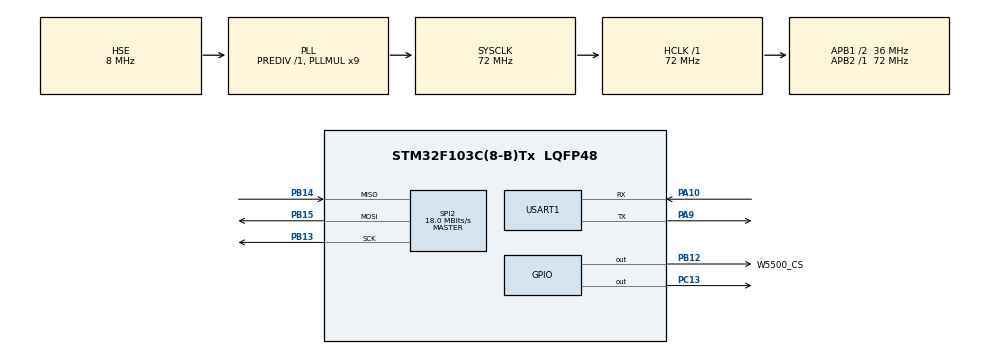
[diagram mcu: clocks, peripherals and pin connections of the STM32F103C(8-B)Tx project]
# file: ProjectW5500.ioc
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Dma.Request0=SPI2_RX
Dma.Request1=SPI2_TX
Dma.SPI2_RX.0.Direction=DMA_PERIPH_TO_MEMORY
Dma.SPI2_RX.0.Instance=DMA1_Channel4
Dma.SPI2_RX.0.MemDataAlignment=DMA_MDATAALIGN_BYTE
Dma.SPI2_RX.0.MemInc=DMA_MINC_ENABLE
Dma.SPI2_RX.0.Mode=DMA_NORMAL
Dma.SPI2_RX.0.PeriphDataAlignment=DMA_PDATAALIGN_BYTE
Dma.SPI2_RX.0.PeriphInc=DMA_PINC_DISABLE
Dma.SPI2_RX.0.Priority=DMA_PRIORITY_LOW
Dma.SPI2_TX.1.Direction=DMA_MEMORY_TO_PERIPH
Dma.SPI2_TX.1.Instance=DMA1_Channel5
Dma.SPI2_TX.1.MemDataAlignment=DMA_MDATAALIGN_BYTE
Dma.SPI2_TX.1.MemInc=DMA_MINC_ENABLE
Dma.SPI2_TX.1.Mode=DMA_NORMAL
Dma.SPI2_TX.1.PeriphDataAlignment=DMA_PDATAALIGN_BYTE
Dma.SPI2_TX.1.PeriphInc=DMA_PINC_DISABLE
Dma.SPI2_TX.1.Priority=DMA_PRIORITY_LOW
FREERTOS.Queues01=MQTTMessQueue,20,uint16_t,0,Static,MQTTMessQueueBuffer,MQTTMessQueueControlBlock
FREERTOS.Tasks01=MainTask,24,128,StartMainTask,Default,NULL,Static,MainTaskBuffer,MainTaskControlBlock;MQTTTask,25,512,StartMQTTTask,Default,NULL,Static,MQTTTaskBuffer,MQTTTaskControlBlock
FREERTOS.Timers01=Timer1sec,Timer1secCallback,osTimerPeriodic,Default,NULL,Static,Timer1secControlBlock
Mcu.Family=STM32F1
Mcu.Name=STM32F103C(8-B)Tx
Mcu.Package=LQFP48
NVIC.DMA1_Channel4_IRQn=true\:5\:0\:false\:false\:true\:true\:false\:true\:true
NVIC.DMA1_Channel5_IRQn=true\:5\:0\:false\:false\:true\:true\:false\:true\:true
NVIC.PriorityGroup=NVIC_PRIORITYGROUP_4
NVIC.TIM1_UP_IRQn=true\:5\:0\:false\:false\:true\:true\:true\:true\:true
NVIC.TIM4_IRQn=true\:15\:0\:false\:false\:true\:false\:false\:true\:true
NVIC.TimeBase=TIM4_IRQn
NVIC.TimeBaseIP=TIM4
PA10.Mode=Asynchronous
PA10.Signal=USART1_RX
PA13.Mode=Serial_Wire
PA13.Signal=SYS_JTMS-SWDIO
PA14.Mode=Serial_Wire
PA14.Signal=SYS_JTCK-SWCLK
PA9.Mode=Asynchronous
PA9.Signal=USART1_TX
PB12.GPIO_Label=W5500_CS
PB12.Signal=GPIO_Output
PB13.Mode=Full_Duplex_Master
PB13.Signal=SPI2_SCK
PB14.Mode=Full_Duplex_Master
PB14.Signal=SPI2_MISO
PB15.Mode=Full_Duplex_Master
PB15.Signal=SPI2_MOSI
PC13-TAMPER-RTC.Signal=GPIO_Output
PD0-OSC_IN.Mode=HSE-External-Oscillator
PD0-OSC_IN.Signal=RCC_OSC_IN
PD1-OSC_OUT.Mode=HSE-External-Oscillator
PD1-OSC_OUT.Signal=RCC_OSC_OUT
ProjectManager.HeapSize=0x200
ProjectManager.StackSize=0x400
ProjectManager.TargetToolchain=EWARM V8.32
RCC.AHBFreq_Value=72000000
RCC.APB1CLKDivider=RCC_HCLK_DIV2
RCC.APB1Freq_Value=36000000
RCC.APB1TimFreq_Value=72000000
RCC.APB2Freq_Value=72000000
RCC.APB2TimFreq_Value=72000000
RCC.HCLKFreq_Value=72000000
RCC.PLLMUL=RCC_PLL_MUL9
RCC.PLLSourceVirtual=RCC_PLLSOURCE_HSE
RCC.SYSCLKFreq_VALUE=72000000
RCC.SYSCLKSource=RCC_SYSCLKSOURCE_PLLCLK
RCC.USBFreq_Value=72000000
SPI2.BaudRatePrescaler=SPI_BAUDRATEPRESCALER_2
SPI2.CalculateBaudRate=18.0 MBits/s
SPI2.Direction=SPI_DIRECTION_2LINES
SPI2.Mode=SPI_MODE_MASTER
SPI2.VirtualType=VM_MASTER
TIM1.Period=10-1
TIM1.Prescaler=7200-1
USART1.VirtualMode=VM_ASYNC
VP_FREERTOS_VS_CMSIS_V2.Mode=CMSIS_V2
VP_SYS_VS_tim4.Mode=TIM4
VP_TIM1_VS_ClockSourceINT.Mode=Internal
board=custom

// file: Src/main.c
/* USER CODE BEGIN Header */
/**
  ******************************************************************************
  * @file           : main.c
  * @brief          : Main program body
  ******************************************************************************
  * @attention
  *
  * Copyright (c) 2023 STMicroelectronics.
  * All rights reserved.
  *
  * This software is licensed under terms that can be found in the LICENSE file
  * in the root directory of this software component.
  * If no LICENSE file comes with this software, it is provided AS-IS.
  *
  ******************************************************************************
  */
/* USER CODE END Header */
#include "main.h"
#include "cmsis_os.h"

/* USER CODE BEGIN Includes */
#include "GlobalDefault.h"
#include "MQTTDrive.h"
#include "string.h"
/* USER CODE END Includes */

typedef StaticTask_t osStaticThreadDef_t;
typedef StaticQueue_t osStaticMessageQDef_t;
typedef StaticTimer_t osStaticTimerDef_t;
/* USER CODE BEGIN PTD */
extern uint16_t mes_id;
extern MQTTClient c;
extern uint8_t InitializationMQTTDone;
uint8_t TestTimerCounter = 0;
uint8_t MaxMessageCount = 20; // Максимальное число сообщений в очереди. Емкость очереди
extern char MyMQTTMessage[MQTT_MESSAGE_LENGTH];
extern char MyMQTTAddress[MQTT_ADDRESS_LENGTH];
/* USER CODE END PTD */

SPI_HandleTypeDef hspi2;
DMA_HandleTypeDef hdma_spi2_rx;
DMA_HandleTypeDef hdma_spi2_tx;

TIM_HandleTypeDef htim1;

UART_HandleTypeDef huart1;

/* Definitions for MainTask */
osThreadId_t MainTaskHandle;
uint32_t MainTaskBuffer[128];
osStaticThreadDef_t MainTaskControlBlock;
const osThreadAttr_t MainTask_attributes = {
	.name = "MainTask",
	.cb_mem = &MainTaskControlBlock,
	.cb_size = sizeof(MainTaskControlBlock),
	.stack_mem = &MainTaskBuffer[0],
	.stack_size = sizeof(MainTaskBuffer),
	.priority = (osPriority_t) osPriorityNormal,
};
/* Definitions for MQTTTask */
osThreadId_t MQTTTaskHandle;
uint32_t MQTTTaskBuffer[512];
osStaticThreadDef_t MQTTTaskControlBlock;
const osThreadAttr_t MQTTTask_attributes = {
	.name = "MQTTTask",
	.cb_mem = &MQTTTaskControlBlock,
	.cb_size = sizeof(MQTTTaskControlBlock),
	.stack_mem = &MQTTTaskBuffer[0],
	.stack_size = sizeof(MQTTTaskBuffer),
	.priority = (osPriority_t) osPriorityNormal1,
};
/* Definitions for MQTTMessQueue */
osMessageQueueId_t MQTTMessQueueHandle;
uint8_t MQTTMessQueueBuffer[20 * sizeof(uint16_t)];
osStaticMessageQDef_t MQTTMessQueueControlBlock;
const osMessageQueueAttr_t MQTTMessQueue_attributes = {
	.name = "MQTTMessQueue",
	.cb_mem = &MQTTMessQueueControlBlock,
	.cb_size = sizeof(MQTTMessQueueControlBlock),
	.mq_mem = &MQTTMessQueueBuffer,
	.mq_size = sizeof(MQTTMessQueueBuffer)
};
/* Definitions for Timer1sec */
osTimerId_t Timer1secHandle;
osStaticTimerDef_t Timer1secControlBlock;
const osTimerAttr_t Timer1sec_attributes = {
	.name = "Timer1sec",
	.cb_mem = &Timer1secControlBlock,
	.cb_size = sizeof(Timer1secControlBlock),
};

void SystemClock_Config(void);
static void MX_GPIO_Init(void);
static void MX_DMA_Init(void);
static void MX_SPI2_Init(void);
static void MX_USART1_UART_Init(void);
static void MX_TIM1_Init(void);
void StartMainTask(void *argument);
void StartMQTTTask(void *argument);
void Timer1secCallback(void *argument);

/* USER CODE BEGIN 0 */
///////////////////////////////////////MQTTMessQueueHandle = osMessageQueueNew(UARTQUEUENUM, sizeof(MyMessage), NULL); // Заменить!
/* USER CODE END 0 */

int main(void)
{

	/* MCU Configuration--------------------------------------------------------*/

	/* Reset of all peripherals, Initializes the Flash interface and the Systick. */
	HAL_Init();

	/* Configure the system clock */
	SystemClock_Config();

	/* Initialize all configured peripherals */
	MX_GPIO_Init();
	MX_DMA_Init();
	MX_SPI2_Init();
	MX_USART1_UART_Init();
	MX_TIM1_Init();

	/* Init scheduler */
	osKernelInitialize();

	/* Create the timer(s) */
	/* creation of Timer1sec */
	Timer1secHandle = osTimerNew(Timer1secCallback, osTimerPeriodic, NULL, &Timer1sec_attributes);

	/* Create the queue(s) */
	/* creation of MQTTMessQueue */
	//MQTTMessQueueHandle = osMessageQueueNew (20, sizeof(uint16_t), &MQTTMessQueue_attributes);

	/* USER CODE BEGIN RTOS_QUEUES */
	MQTTMessQueueHandle = osMessageQueueNew(MaxMessageCount, sizeof(MyMessage), NULL); // Заменить этой строкой, сгенерированную строку
  /* add queues, ... */
  /* USER CODE END RTOS_QUEUES */

  /* Create the thread(s) */
  /* creation of MainTask */
	MainTaskHandle = osThreadNew(StartMainTask, NULL, &MainTask_attributes);

	/* creation of MQTTTask */
	MQTTTaskHandle = osThreadNew(StartMQTTTask, NULL, &MQTTTask_attributes);

	/* Start scheduler */
	osKernelStart();
	/* We should never get here as control is now taken by the scheduler */
	/* Infinite loop */
	while (1)
	{

	}
}

void SystemClock_Config(void)
{
	RCC_OscInitTypeDef RCC_OscInitStruct = { 0 };
	RCC_ClkInitTypeDef RCC_ClkInitStruct = { 0 };

	/** Initializes the RCC Oscillators according to the specified parameters
	* in the RCC_OscInitTypeDef structure.
	*/
	RCC_OscInitStruct.OscillatorType = RCC_OSCILLATORTYPE_HSE;
	RCC_OscInitStruct.HSEState = RCC_HSE_ON;
	RCC_OscInitStruct.HSEPredivValue = RCC_HSE_PREDIV_DIV1;
	RCC_OscInitStruct.HSIState = RCC_HSI_ON;
	RCC_OscInitStruct.PLL.PLLState = RCC_PLL_ON;
	RCC_OscInitStruct.PLL.PLLSource = RCC_PLLSOURCE_HSE;
	RCC_OscInitStruct.PLL.PLLMUL = RCC_PLL_MUL9;
	if (HAL_RCC_OscConfig(&RCC_OscInitStruct) != HAL_OK)
	{
		Error_Handler();
	}

	/** Initializes the CPU, AHB and APB buses clocks
	*/
	RCC_ClkInitStruct.ClockType = RCC_CLOCKTYPE_HCLK | RCC_CLOCKTYPE_SYSCLK
	                            | RCC_CLOCKTYPE_PCLK1 | RCC_CLOCKTYPE_PCLK2;
	RCC_ClkInitStruct.SYSCLKSource = RCC_SYSCLKSOURCE_PLLCLK;
	RCC_ClkInitStruct.AHBCLKDivider = RCC_SYSCLK_DIV1;
	RCC_ClkInitStruct.APB1CLKDivider = RCC_HCLK_DIV2;
	RCC_ClkInitStruct.APB2CLKDivider = RCC_HCLK_DIV1;

	if (HAL_RCC_ClockConfig(&RCC_ClkInitStruct, FLASH_LATENCY_2) != HAL_OK)
	{
		Error_Handler();
	}
}

static void MX_SPI2_Init(void)
{

	/* SPI2 parameter configuration*/
	hspi2.Instance = SPI2;
	hspi2.Init.Mode = SPI_MODE_MASTER;
	hspi2.Init.Direction = SPI_DIRECTION_2LINES;
	hspi2.Init.DataSize = SPI_DATASIZE_8BIT;
	hspi2.Init.CLKPolarity = SPI_POLARITY_LOW;
	hspi2.Init.CLKPhase = SPI_PHASE_1EDGE;
	hspi2.Init.NSS = SPI_NSS_SOFT;
	hspi2.Init.BaudRatePrescaler = SPI_BAUDRATEPRESCALER_2;
	hspi2.Init.FirstBit = SPI_FIRSTBIT_MSB;
	hspi2.Init.TIMode = SPI_TIMODE_DISABLE;
	hspi2.Init.CRCCalculation = SPI_CRCCALCULATION_DISABLE;
	hspi2.Init.CRCPolynomial = 10;
	if (HAL_SPI_Init(&hspi2) != HAL_OK)
	{
		Error_Handler();
	}

}

static void MX_TIM1_Init(void)
{

	TIM_ClockConfigTypeDef sClockSourceConfig = { 0 };
	TIM_MasterConfigTypeDef sMasterConfig = { 0 };

	htim1.Instance = TIM1;
	htim1.Init.Prescaler = 7200 - 1;
	htim1.Init.CounterMode = TIM_COUNTERMODE_UP;
	htim1.Init.Period = 10 - 1;
	htim1.Init.ClockDivision = TIM_CLOCKDIVISION_DIV1;
	htim1.Init.RepetitionCounter = 0;
	htim1.Init.AutoReloadPreload = TIM_AUTORELOAD_PRELOAD_DISABLE;
	if (HAL_TIM_Base_Init(&htim1) != HAL_OK)
	{
		Error_Handler();
	}
	sClockSourceConfig.ClockSource = TIM_CLOCKSOURCE_INTERNAL;
	if (HAL_TIM_ConfigClockSource(&htim1, &sClockSourceConfig) != HAL_OK)
	{
		Error_Handler();
	}
	sMasterConfig.MasterOutputTrigger = TIM_TRGO_RESET;
	sMasterConfig.MasterSlaveMode = TIM_MASTERSLAVEMODE_DISABLE;
	if (HAL_TIMEx_MasterConfigSynchronization(&htim1, &sMasterConfig) != HAL_OK)
	{
		Error_Handler();
	}

}

static void MX_USART1_UART_Init(void)
{

	huart1.Instance = USART1;
	huart1.Init.BaudRate = 115200;
	huart1.Init.WordLength = UART_WORDLENGTH_8B;
	huart1.Init.StopBits = UART_STOPBITS_1;
	huart1.Init.Parity = UART_PARITY_NONE;
	huart1.Init.Mode = UART_MODE_TX_RX;
	huart1.Init.HwFlowCtl = UART_HWCONTROL_NONE;
	huart1.Init.OverSampling = UART_OVERSAMPLING_16;
	if (HAL_UART_Init(&huart1) != HAL_OK)
	{
		Error_Handler();
	}

}

static void MX_DMA_Init(void)
{

	/* DMA controller clock enable */
	__HAL_RCC_DMA1_CLK_ENABLE();

	/* DMA interrupt init */
	/* DMA1_Channel4_IRQn interrupt configuration */
	HAL_NVIC_SetPriority(DMA1_Channel4_IRQn, 5, 0);
	HAL_NVIC_EnableIRQ(DMA1_Channel4_IRQn);
	/* DMA1_Channel5_IRQn interrupt configuration */
	HAL_NVIC_SetPriority(DMA1_Channel5_IRQn, 5, 0);
	HAL_NVIC_EnableIRQ(DMA1_Channel5_IRQn);

}

static void MX_GPIO_Init(void)
{
	GPIO_InitTypeDef GPIO_InitStruct = { 0 };

	  /* GPIO Ports Clock Enable */
	__HAL_RCC_GPIOC_CLK_ENABLE();
	__HAL_RCC_GPIOD_CLK_ENABLE();
	__HAL_RCC_GPIOA_CLK_ENABLE();
	__HAL_RCC_GPIOB_CLK_ENABLE();

	/*Configure GPIO pin Output Level */
	HAL_GPIO_WritePin(GPIOC, GPIO_PIN_13, GPIO_PIN_RESET);

	/*Configure GPIO pin Output Level */
	HAL_GPIO_WritePin(W5500_CS_GPIO_Port, W5500_CS_Pin, GPIO_PIN_RESET);

	/*Configure GPIO pin : PC13 */
	GPIO_InitStruct.Pin = GPIO_PIN_13;
	GPIO_InitStruct.Mode = GPIO_MODE_OUTPUT_PP;
	GPIO_InitStruct.Pull = GPIO_NOPULL;
	GPIO_InitStruct.Speed = GPIO_SPEED_FREQ_LOW;
	HAL_GPIO_Init(GPIOC, &GPIO_InitStruct);

	/*Configure GPIO pins : PC14 PC15 */
	GPIO_InitStruct.Pin = GPIO_PIN_14 | GPIO_PIN_15;
	GPIO_InitStruct.Mode = GPIO_MODE_ANALOG;
	HAL_GPIO_Init(GPIOC, &GPIO_InitStruct);

	/*Configure GPIO pins : PA0 PA1 PA2 PA3
	                         PA4 PA5 PA6 PA7
	                         PA8 PA11 PA12 PA15 */
	GPIO_InitStruct.Pin = GPIO_PIN_0 | GPIO_PIN_1 | GPIO_PIN_2 | GPIO_PIN_3
	                        | GPIO_PIN_4 | GPIO_PIN_5 | GPIO_PIN_6 | GPIO_PIN_7
	                        | GPIO_PIN_8 | GPIO_PIN_11 | GPIO_PIN_12 | GPIO_PIN_15;
	GPIO_InitStruct.Mode = GPIO_MODE_ANALOG;
	HAL_GPIO_Init(GPIOA, &GPIO_InitStruct);

	/*Configure GPIO pins : PB0 PB1 PB2 PB10
	                         PB11 PB3 PB4 PB5
	                         PB6 PB7 PB8 PB9 */
	GPIO_InitStruct.Pin = GPIO_PIN_0 | GPIO_PIN_1 | GPIO_PIN_2 | GPIO_PIN_10
	                        | GPIO_PIN_11 | GPIO_PIN_3 | GPIO_PIN_4 | GPIO_PIN_5
	                        | GPIO_PIN_6 | GPIO_PIN_7 | GPIO_PIN_8 | GPIO_PIN_9;
	GPIO_InitStruct.Mode = GPIO_MODE_ANALOG;
	HAL_GPIO_Init(GPIOB, &GPIO_InitStruct);

	/*Configure GPIO pin : W5500_CS_Pin */
	GPIO_InitStruct.Pin = W5500_CS_Pin;
	GPIO_InitStruct.Mode = GPIO_MODE_OUTPUT_PP;
	GPIO_InitStruct.Pull = GPIO_NOPULL;
	GPIO_InitStruct.Speed = GPIO_SPEED_FREQ_LOW;
	HAL_GPIO_Init(W5500_CS_GPIO_Port, &GPIO_InitStruct);

}

void StartMainTask(void *argument)
{
	/* USER CODE BEGIN 5 */
	Initialization();
	/* Infinite loop */
	for (;;)
	{
////////////////////////////////Отправка тестовых сообщений по MQTT////////////////////////////
		if (InitializationMQTTDone == 0)
		{
			sprintf(MyMQTTMessage, "TestSeconds %d\n", TestTimerCounter); // Переводим строку в массив символов
			sprintf(MyMQTTAddress, "homebridge/from/TestClient\n"); // Переводим строку в массив символов
			MQTTMessageQueueEdd(); // Ставим сообщение в очередь
			osDelay(1000);

		}
////////////////////////////////////////////////////////////////////////////////////////////
		osDelay(1);
	}
	/* USER CODE END 5 */
}

void StartMQTTTask(void *argument)
{
	/* USER CODE BEGIN StartMQTTTask */
	HAL_TIM_Base_Start_IT(&htim1);
	osTimerStart(Timer1secHandle, 1000);
	/* Infinite loop */
	for (;;)
	{
		MQTTDriver();
		osDelay(1);
	}
	/* USER CODE END StartMQTTTask */
}

/* Timer1secCallback function */
void Timer1secCallback(void *argument)
{
	/* USER CODE BEGIN Timer1secCallback */

	TestTimerCounter++;
	if (TestTimerCounter > 200)
	{
		TestTimerCounter = 0;
	}
	  /* USER CODE END Timer1secCallback */
}

void HAL_TIM_PeriodElapsedCallback(TIM_HandleTypeDef *htim)
{
	if (htim->Instance == TIM4) {
		HAL_IncTick();
	}
}

void Error_Handler(void)
{
	__disable_irq();
	while (1)
	{
	}
}
